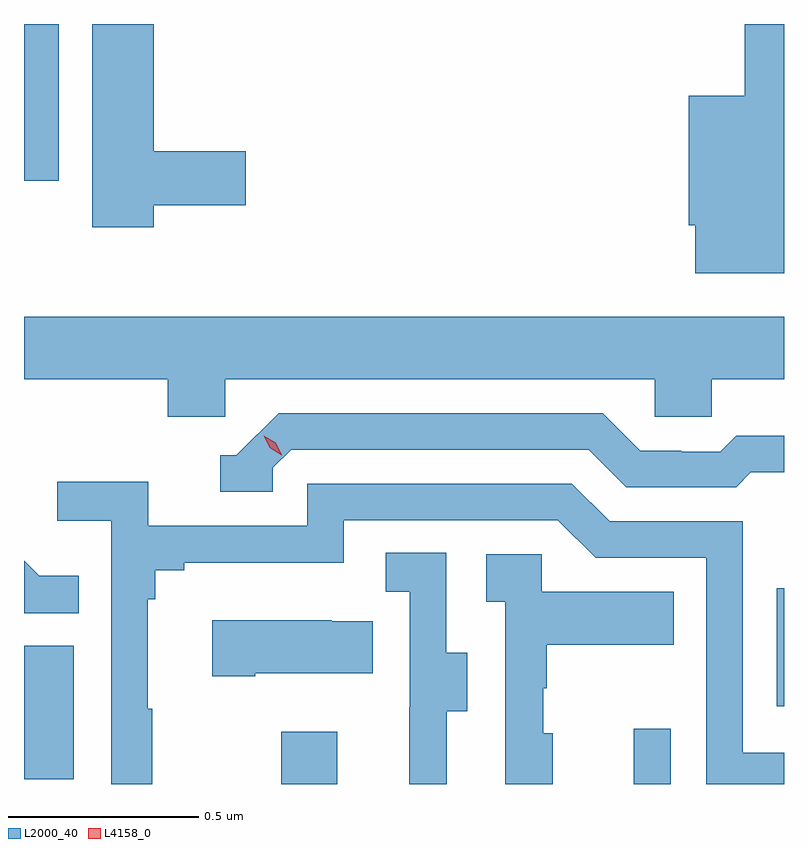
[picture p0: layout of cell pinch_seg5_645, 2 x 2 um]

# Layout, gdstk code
import gdstk
lib = gdstk.Library(unit=1e-6, precision=1e-09)
def R(c, l, rs):  # rectangles x0, y0, x1, y1
    for r in rs: c.add(gdstk.rectangle(r[:2], r[2:], *l))
def P(c, l, *ps):  # polygons
    for p in ps: c.add(gdstk.Polygon(p, *l))
L2000_40 = (2000, 40)
L4158_0 = (4158, 0)

pinch_seg5_645 = lib.new_cell('pinch_seg5_645')
R(pinch_seg5_645, L2000_40, [(1059.154,857.027,1059.301,857.164), (1060.082,857.027,1060.179,857.173), (1058.477,857.04,1058.608,857.391), (1060.458,857.232,1060.477,857.542), (1058.477,858.615,1058.568,859.027)])
P(pinch_seg5_645, L2000_40, [(1058.818,858.55),(1059.061,858.55),(1059.061,858.692),(1058.818,858.692),(1058.818,859.027),(1058.657,859.027),(1058.657,858.492),(1058.818,858.492)],
  [(1060.477,859.027),(1060.374,859.027),(1060.374,858.838),(1060.226,858.838),(1060.226,858.498),(1060.244,858.498),(1060.244,858.371),(1060.477,858.371)],
  [(1059.006,858.092),(1060.137,858.092),(1060.137,857.994),(1060.287,857.994),(1060.287,858.092),(1060.477,858.092),(1060.477,858.256),(1058.477,858.256),(1058.477,858.092),(1058.855,858.092),(1058.855,857.994),(1059.006,857.994)],
  [(1059.132,857.859),(1059.18,857.907),(1059.963,857.907),(1060.062,857.808),(1060.351,857.808),(1060.39,857.847),(1060.477,857.847),(1060.477,857.944),(1060.351,857.944),(1060.309,857.901),(1060.206,857.901),(1060.206,857.904),(1060.099,857.904),(1060,858.003),(1059.147,858.003),(1059.036,857.892),(1058.993,857.892),(1058.993,857.796),(1059.132,857.796)],
  [(1058.815,857.225),(1058.803,857.225),(1058.803,857.513),(1058.822,857.513),(1058.822,857.59),(1058.899,857.59),(1058.899,857.609),(1059.318,857.609),(1059.318,857.721),(1059.882,857.721),(1059.981,857.622),(1060.272,857.622),(1060.272,857.027),(1060.477,857.027),(1060.477,857.109),(1060.368,857.109),(1060.368,857.718),(1060.018,857.718),(1059.919,857.817),(1059.222,857.817),(1059.222,857.706),(1058.804,857.706),(1058.804,857.822),(1058.565,857.822),(1058.565,857.72),(1058.706,857.72),(1058.706,857.027),(1058.815,857.027)],
  [(1059.589,857.218),(1059.643,857.218),(1059.643,857.373),(1059.588,857.373),(1059.588,857.636),(1059.429,857.636),(1059.429,857.533),(1059.492,857.533),(1059.492,857.229),(1059.491,857.229),(1059.491,857.027),(1059.589,857.027)],
  [(1059.868,857.16),(1059.843,857.16),(1059.843,857.279),(1059.853,857.279),(1059.853,857.393),(1060.187,857.393),(1060.187,857.533),(1059.84,857.533),(1059.84,857.631),(1059.693,857.631),(1059.693,857.507),(1059.744,857.507),(1059.744,857.027),(1059.868,857.027)],
  [(1058.621,857.575),(1058.517,857.575),(1058.477,857.615),(1058.477,857.476),(1058.621,857.476)],
  [(1059.085,857.318),(1059.395,857.318),(1059.395,857.455),(1059.287,857.455),(1059.287,857.458),(1058.973,857.458),(1058.973,857.311),(1059.085,857.311)])
P(pinch_seg5_645, L4158_0, [(1059.155,857.892),(1059.124,857.912),(1059.108,857.944),(1059.108,857.944),(1059.108,857.944),(1059.139,857.925),(1059.155,857.892),(1059.155,857.892)])

lib.write_gds('pinch_seg5_645.gds')
